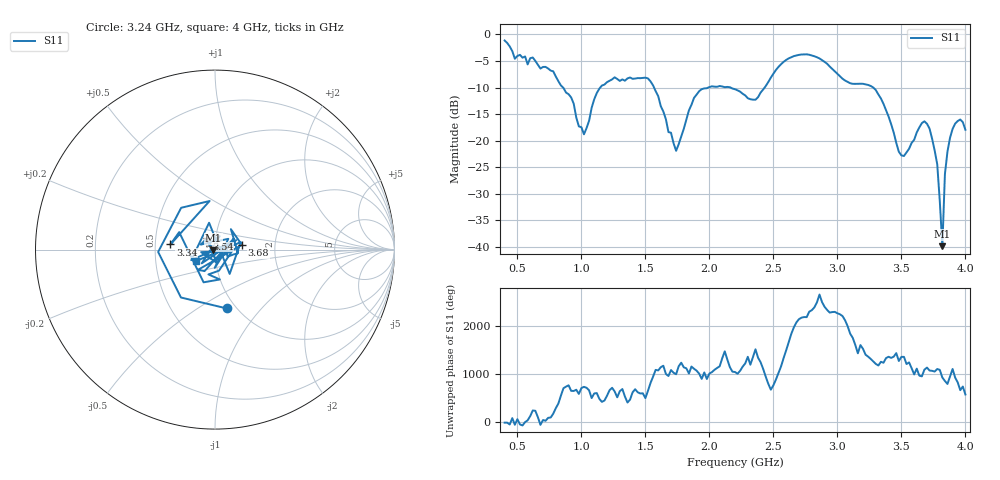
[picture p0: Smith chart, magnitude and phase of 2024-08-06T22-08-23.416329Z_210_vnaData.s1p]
!Created with skrf (http://scikit-rf.org).
# Hz S RI R 50.0
!freq ReS11 ImS11
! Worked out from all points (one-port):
!   181 points, 400 MHz to 4 GHz, reference 50 ohm
!   lowest |S11| = -39.8 dB at 3.82 GHz (marker M1), VSWR 1.02, Z = 49.1 - j0.416 ohm
!   |S11| at or under -10 dB: 856.8 MHz to 1.147 GHz (290.1 MHz wide, 29 % of centre); 1.568 GHz to 1.991 GHz (423.3 MHz wide, 23.8 % of centre); 3.281 GHz to end of sweep (the widest 3 of 4)
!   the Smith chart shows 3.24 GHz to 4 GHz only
!   S11 on the Smith chart (normalised r, x): 3.24 GHz: 0.91, -0.67; 3.34 GHz: 0.60, +0.04; 3.54 GHz: 0.90, +0.11; 3.68 GHz: 1.35, +0.07; 4 GHz: 0.80, -0.11
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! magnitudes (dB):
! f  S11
! 400 MHz  -1.1
! 480 MHz  -4.6
! 620 MHz  -4.3
! 860 MHz  -10.1
! 1.02 GHz  -18.8
! 1.14 GHz  -10.2
! 1.3 GHz  -8.8
! 1.52 GHz  -8.3
! 1.74 GHz  -21.9
! 1.76 GHz  -20.7
! 1.92 GHz  -10.7
! 2.2 GHz  -10.3
! 2.36 GHz  -12.3
! 2.66 GHz  -4.1
! 2.86 GHz  -4.5
! 3.1 GHz  -9.2
! 3.24 GHz  -9.5
! 3.34 GHz  -12.1
! 3.48 GHz  -22.1
! 3.54 GHz  -22.2
! 3.56 GHz  -21.5
! 3.68 GHz  -16.4
! 3.78 GHz  -24.4
! 3.82 GHz  -39.8
! 3.84 GHz  -26.3
! 3.88 GHz  -19.4
! 3.96 GHz  -16.0
! 4 GHz  -17.9
